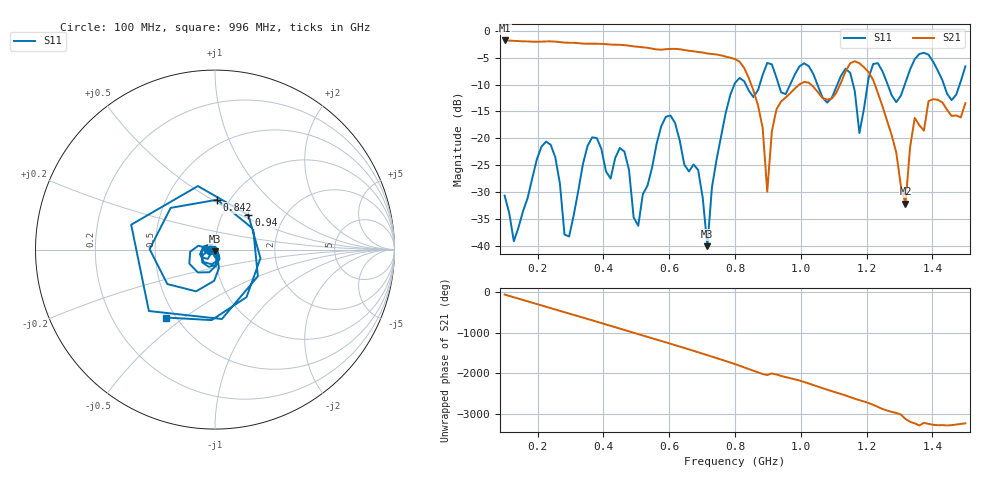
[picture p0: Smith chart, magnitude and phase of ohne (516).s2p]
! NanoVNA-App
! Date: 2025-09-25 14:24:49
! Start: 100MHz Stop: 1,5GHz Points: 101
! S-Parameter data: F S11 S21 S12 S22
# Hz S RI R 50
!  Frequency  S11_Real  S11_Imag  S21_Real  S21_Imag  S12_Real  S12_Imag  S22_Real  S22_Imag
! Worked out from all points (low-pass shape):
!   101 points, 100 MHz to 1.5 GHz, reference 50 ohm
!   highest |S21| = -1.79 dB at 100 MHz (marker M1); lowest = -32.2 dB at 1.318 GHz (marker M2)
!   |S21| within 3 dB of the highest: start of sweep to 771.5 MHz
!   lowest |S11| = -40.0 dB at 716 MHz (marker M3), VSWR 1.02, Z = 49.8 - j0.961 ohm
!   |S11| at or under -10 dB: start of sweep to 798 MHz; 833 MHz to 875.1 MHz (42.1 MHz wide, 4.93 % of centre); 1.05 GHz to 1.111 GHz (60.52 MHz wide, 5.6 % of centre) (the widest 3 of 7)
!   S12 and S22 are empty: the file has one direction only
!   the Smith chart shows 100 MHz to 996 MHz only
!   S11 on the Smith chart (normalised r, x): 100 MHz: 0.94, -0.01; 842 MHz: 0.88, +0.53; 940 MHz: 1.33, +0.55; 996 MHz: 0.44, -0.43
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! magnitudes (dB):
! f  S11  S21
! 100 MHz  -30.6  -1.8
! 128 MHz  -39.1  -1.9
! 226 MHz  -20.6  -2.0
! 296 MHz  -38.2  -2.2
! 338 MHz  -24.8  -2.4
! 464 MHz  -22.5  -2.7
! 506 MHz  -36.3  -3.0
! 576 MHz  -17.7  -3.5
! 688 MHz  -25.9  -3.9
! 716 MHz  -40.0  -4.2
! 800 MHz  -9.7  -5.2
! 842 MHz  -11.1  -8.8
! 898 MHz  -6.0  -29.9
! 940 MHz  -11.4  -13.1
! 996 MHz  -6.6  -9.9
! 1.038 GHz  -8.0  -10.4
! 1.178 GHz  -19.0  -6.0
! 1.22 GHz  -6.2  -9.2
! 1.276 GHz  -12.0  -19.4
! 1.318 GHz  -9.6  -32.2
! 1.346 GHz  -5.3  -16.2
! 1.5 GHz  -6.6  -13.5
